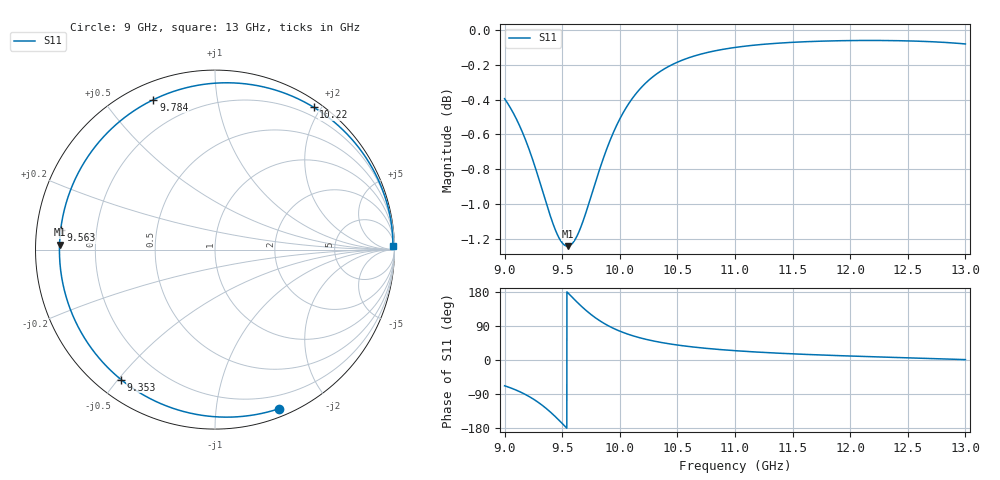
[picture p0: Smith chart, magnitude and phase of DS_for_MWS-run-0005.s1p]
! TOUCHSTONE file generated by CST DESIGN STUDIO
! Date and time: Tue Feb  4 18:28:25 2025
! Project name: C:\Work\MatlabApps\UnitCellOptimizationMatlab\CST\unitcell.cst
! Tree item: Tasks\Sweep1\SPara1\S-Parameters
! Header version: 2024
! Port assignment regex: !\s*Touchstone port\s*([0-9]+)\s*=\s*(CST MWS port|CST DES external port|CST DES block port)\s*(.+)\s* \(\"(.*)\"\)(\s*mode\s*([0-9]+))?.*
! Touchstone port assignment:
! Touchstone port 1 = CST DES external port 1 ("")
# GHz S MA R 50
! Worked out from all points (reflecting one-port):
!   4001 points, 9 GHz to 13 GHz, reference 50 ohm
!   lowest |S11| = -1.2 dB at 9.546 GHz (marker M1), VSWR 14.01, Z = 3.57 + j0.769 ohm
!   phase of S11 starts at -68 deg and turns -291 deg over the sweep
!   S11 on the Smith chart (normalised r, x): 9 GHz: 0.07, -1.48; 9.353 GHz: 0.07, -0.51; 9.563 GHz: 0.07, +0.06; 9.784 GHz: 0.07, +0.67; 10.22 GHz: 0.08, +1.91; 13 GHz: open
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9  0.9556 -68.0
9.035  0.9517 -71.7
9.099  0.9433 -79.3
9.208  0.925 -95.6
9.284  0.9092 -110.0
9.353  0.8937 -125.8
9.423  0.8792 -144.5
9.463  0.8727 -156.1
9.5  0.8686 -167.4
9.546  0.8667 178.2
9.563  0.867 172.9
9.618  0.8712 156.0
9.679  0.8809 138.3
9.731  0.8915 124.7
9.784  0.9032 112.3
9.83  0.9131 102.8
9.88  0.9231 93.7
10  0.9429 76.1
10.103  0.9552 64.9
10.217  0.965 55.3
10.348  0.9728 46.9
10.5  0.979 39.5
10.721  0.9845 31.6
11  0.9885 24.6
11.5  0.9919 16.2
12  0.9931 10.5
12.5  0.9928 5.7
13  0.9908 1.0
